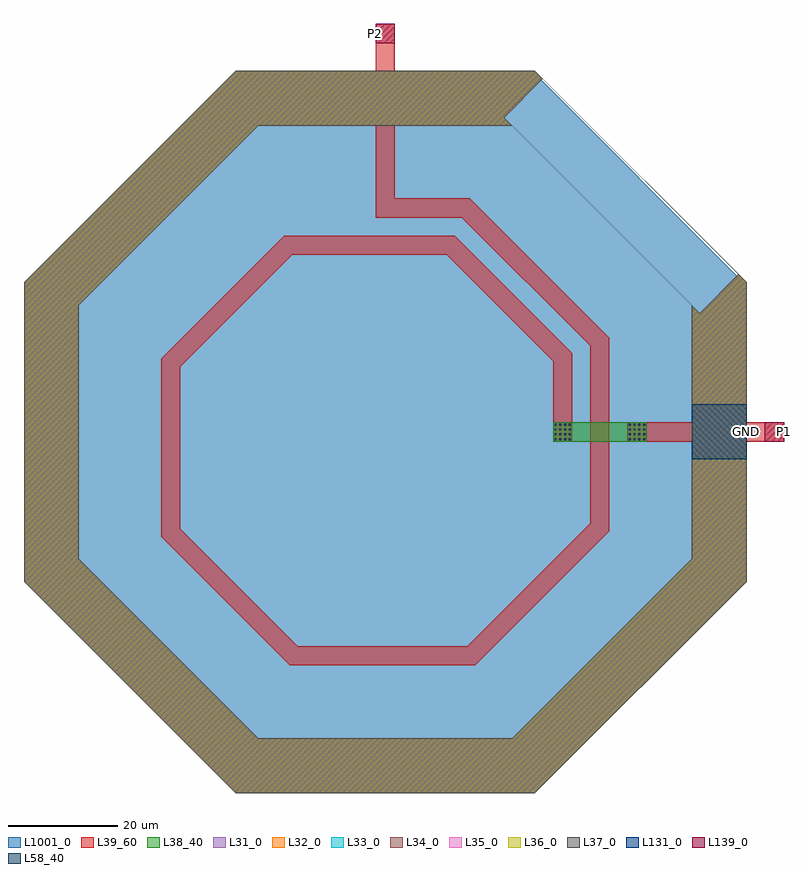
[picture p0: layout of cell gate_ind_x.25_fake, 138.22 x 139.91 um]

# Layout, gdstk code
import gdstk
lib = gdstk.Library(unit=1e-6, precision=1e-09)
def R(c, l, rs):  # rectangles x0, y0, x1, y1
    for r in rs: c.add(gdstk.rectangle(r[:2], r[2:], *l))
def A(c, l, x, y, w, h, nx, ny, dx, dy):  # array of equal rectangles
    R(c, l, [(x+i*dx, y+j*dy, x+i*dx+w, y+j*dy+h) for i in range(nx) for j in range(ny)])
def P(c, l, *ps):  # polygons
    for p in ps: c.add(gdstk.Polygon(p, *l))
L31_0 = (31, 0)
L32_0 = (32, 0)
L33_0 = (33, 0)
L34_0 = (34, 0)
L35_0 = (35, 0)
L36_0 = (36, 0)
L37_0 = (37, 0)
L38_40 = (38, 40)
L39_60 = (39, 60)
L58_40 = (58, 40)
L131_0 = (131, 0)
L139_0 = (139, 0)
L1001_0 = (1001, 0)

gate_ind_x_25_fake = lib.new_cell('gate_ind_x.25_fake')
P(gate_ind_x_25_fake, L31_0, [(57.166,21.608),(64.237,28.679),(27.214,65.701),(-27.214,65.701),(-65.701,27.214),(-65.701,-27.214),(-27.214,-65.701),(27.214,-65.701),(65.701,-27.214),(65.701,27.214),(28.679,64.237),(21.608,57.166),(55.701,23.072),(55.701,-23.072),(23.072,-55.701),(-23.072,-55.701),(-55.701,-23.072),(-55.701,23.072),(-23.072,55.701),(23.072,55.701)])
P(gate_ind_x_25_fake, L32_0, [(57.166,21.608),(64.237,28.679),(27.214,65.701),(-27.214,65.701),(-65.701,27.214),(-65.701,-27.214),(-27.214,-65.701),(27.214,-65.701),(65.701,-27.214),(65.701,27.214),(28.679,64.237),(21.608,57.166),(55.701,23.072),(55.701,-23.072),(23.072,-55.701),(-23.072,-55.701),(-55.701,-23.072),(-55.701,23.072),(-23.072,55.701),(23.072,55.701)])
P(gate_ind_x_25_fake, L33_0, [(57.166,21.608),(64.237,28.679),(27.214,65.701),(-27.214,65.701),(-65.701,27.214),(-65.701,-27.214),(-27.214,-65.701),(27.214,-65.701),(65.701,-27.214),(65.701,27.214),(28.679,64.237),(21.608,57.166),(55.701,23.072),(55.701,-23.072),(23.072,-55.701),(-23.072,-55.701),(-55.701,-23.072),(-55.701,23.072),(-23.072,55.701),(23.072,55.701)])
P(gate_ind_x_25_fake, L34_0, [(57.166,21.608),(64.237,28.679),(27.214,65.701),(-27.214,65.701),(-65.701,27.214),(-65.701,-27.214),(-27.214,-65.701),(27.214,-65.701),(65.701,-27.214),(65.701,27.214),(28.679,64.237),(21.608,57.166),(55.701,23.072),(55.701,-23.072),(23.072,-55.701),(-23.072,-55.701),(-55.701,-23.072),(-55.701,23.072),(-23.072,55.701),(23.072,55.701)])
P(gate_ind_x_25_fake, L35_0, [(57.166,21.608),(64.237,28.679),(27.214,65.701),(-27.214,65.701),(-65.701,27.214),(-65.701,-27.214),(-27.214,-65.701),(27.214,-65.701),(65.701,-27.214),(65.701,27.214),(28.679,64.237),(21.608,57.166),(55.701,23.072),(55.701,-23.072),(23.072,-55.701),(-23.072,-55.701),(-55.701,-23.072),(-55.701,23.072),(-23.072,55.701),(23.072,55.701)])
P(gate_ind_x_25_fake, L36_0, [(57.166,21.608),(64.237,28.679),(27.214,65.701),(-27.214,65.701),(-65.701,27.214),(-65.701,-27.214),(-27.214,-65.701),(27.214,-65.701),(65.701,-27.214),(65.701,27.214),(28.679,64.237),(21.608,57.166),(55.701,23.072),(55.701,-23.072),(23.072,-55.701),(-23.072,-55.701),(-55.701,-23.072),(-55.701,23.072),(-23.072,55.701),(23.072,55.701)])
P(gate_ind_x_25_fake, L37_0, [(57.166,21.608),(64.237,28.679),(27.214,65.701),(-27.214,65.701),(-65.701,27.214),(-65.701,-27.214),(-27.214,-65.701),(27.214,-65.701),(65.701,-27.214),(65.701,27.214),(28.679,64.237),(21.608,57.166),(55.701,23.072),(55.701,-23.072),(23.072,-55.701),(-23.072,-55.701),(-55.701,-23.072),(-55.701,23.072),(-23.072,55.701),(23.072,55.701)])
R(gate_ind_x_25_fake, L38_40, [(30.515,-1.75,47.515,1.75)])
P(gate_ind_x_25_fake, L38_40, [(57.166,21.608),(64.237,28.679),(27.214,65.701),(-27.214,65.701),(-65.701,27.214),(-65.701,-27.214),(-27.214,-65.701),(27.214,-65.701),(65.701,-27.214),(65.701,27.214),(28.679,64.237),(21.608,57.166),(55.701,23.072),(55.701,-23.072),(23.072,-55.701),(-23.072,-55.701),(-55.701,-23.072),(-55.701,23.072),(-23.072,55.701),(23.072,55.701)])
R(gate_ind_x_25_fake, L39_60, [(44.015,-1.75,72.515,1.75), (-1.75,38.955,1.75,74.205)])
P(gate_ind_x_25_fake, L39_60, [(30.515,-1.75),(34.015,-1.75),(34.015,14.295),(12.605,35.705),(-18.37,35.705),(-40.765,13.305),(-40.765,-19.065),(-17.38,-42.455),(16.39,-42.455),(40.765,-18.08),(40.765,17.09),(15.405,42.455),(0,42.455),(0,38.955),(13.955,38.955),(37.265,15.64),(37.265,-16.63),(14.94,-38.955),(-15.93,-38.955),(-37.265,-17.615),(-37.265,11.855),(-16.92,32.205),(11.155,32.205),(30.515,12.845)],
  [(57.166,21.608),(64.237,28.679),(27.214,65.701),(-27.214,65.701),(-65.701,27.214),(-65.701,-27.214),(-27.214,-65.701),(27.214,-65.701),(65.701,-27.214),(65.701,27.214),(28.679,64.237),(21.608,57.166),(55.701,23.072),(55.701,-23.072),(23.072,-55.701),(-23.072,-55.701),(-55.701,-23.072),(-55.701,23.072),(-23.072,55.701),(23.072,55.701)])
A(gate_ind_x_25_fake, L58_40, 30.785, -1.48, 0.35, 0.35, 4, 4, 0.87, 0.87)
A(gate_ind_x_25_fake, L58_40, 44.285, -1.48, 0.35, 0.35, 4, 4, 0.87, 0.87)
R(gate_ind_x_25_fake, L131_0, [(55.705,-5,65.705,5)])
R(gate_ind_x_25_fake, L139_0, [(69.015,-1.75,72.515,1.75), (-1.75,70.705,1.75,74.205)])
P(gate_ind_x_25_fake, L1001_0, [(65.321,27.057),(27.057,65.321),(-27.057,65.321),(-65.321,27.057),(-65.321,-27.057),(-27.057,-65.321),(27.057,-65.321),(65.321,-27.057)],
  [(65.321,27.057),(27.057,65.321),(-27.057,65.321),(-65.321,27.057),(-65.321,-27.057),(-27.057,-65.321),(27.057,-65.321),(65.321,-27.057)],
  [(65.321,27.057),(27.057,65.321),(-27.057,65.321),(-65.321,27.057),(-65.321,-27.057),(-27.057,-65.321),(27.057,-65.321),(65.321,-27.057)],
  [(65.321,27.057),(27.057,65.321),(-27.057,65.321),(-65.321,27.057),(-65.321,-27.057),(-27.057,-65.321),(27.057,-65.321),(65.321,-27.057)],
  [(65.321,27.057),(27.057,65.321),(-27.057,65.321),(-65.321,27.057),(-65.321,-27.057),(-27.057,-65.321),(27.057,-65.321),(65.321,-27.057)],
  [(65.321,27.057),(27.057,65.321),(-27.057,65.321),(-65.321,27.057),(-65.321,-27.057),(-27.057,-65.321),(27.057,-65.321),(65.321,-27.057)],
  [(65.321,27.057),(27.057,65.321),(-27.057,65.321),(-65.321,27.057),(-65.321,-27.057),(-27.057,-65.321),(27.057,-65.321),(65.321,-27.057)],
  [(65.321,27.057),(27.057,65.321),(-27.057,65.321),(-65.321,27.057),(-65.321,-27.057),(-27.057,-65.321),(27.057,-65.321),(65.321,-27.057)],
  [(65.321,27.057),(27.057,65.321),(-27.057,65.321),(-65.321,27.057),(-65.321,-27.057),(-27.057,-65.321),(27.057,-65.321),(65.321,-27.057)])
gate_ind_x_25_fake.add(gdstk.Label('P1', (72.515,0), layer=139, texttype=0))
gate_ind_x_25_fake.add(gdstk.Label('P2', (-1.75,72.453), layer=139, texttype=0))
gate_ind_x_25_fake.add(gdstk.Label('GND', (65.703,0), layer=131, texttype=0))

lib.write_gds('gate_ind_x.25_fake.gds')
